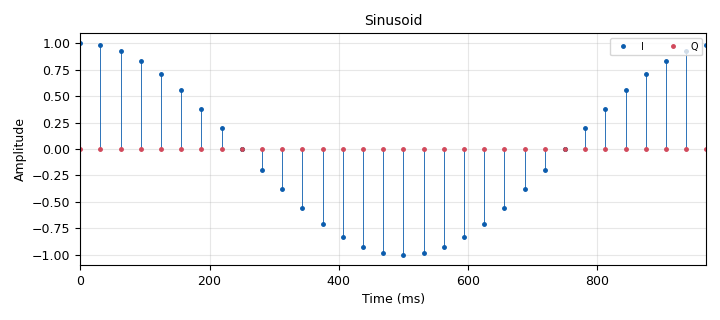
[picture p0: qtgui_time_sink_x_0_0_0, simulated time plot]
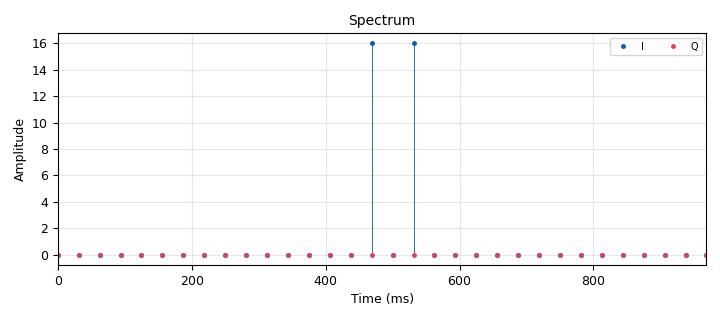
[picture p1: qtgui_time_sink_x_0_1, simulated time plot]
options:
  parameters:
    author: Ranim Tom
    generate_options: qt_gui
    id: Fourier_Analysis
    output_language: python
    title: Fourier Analysis
  states: {}

blocks:
- name: nfft
  id: variable
  parameters:
    value: '32'
  states: {}
- name: samp_rate
  id: variable
  parameters:
    value: '32'
  states: {}
- name: analog_sig_source_x_0
  id: analog_sig_source_x
  parameters:
    amp: '1'
    freq: '-1'
    offset: '0'
    phase: 0*pi/2
    samp_rate: samp_rate
    type: complex
    waveform: analog.GR_COS_WAVE
  states: {state: disabled}
- name: analog_sig_source_x_0_0
  id: analog_sig_source_x
  parameters:
    amp: '1'
    freq: '-1'
    offset: '0'
    phase: 0*pi/2
    samp_rate: samp_rate
    type: float
    waveform: analog.GR_COS_WAVE
  states: {}
- name: blocks_float_to_complex_0
  id: blocks_float_to_complex
  parameters: {}
  states: {}
- name: blocks_stream_to_vector_0
  id: blocks_stream_to_vector
  parameters:
    num_items: '32'
    type: complex
  states: {state: disabled}
- name: blocks_stream_to_vector_0_0
  id: blocks_stream_to_vector
  parameters:
    num_items: '32'
    type: complex
  states: {}
- name: blocks_throttle2_0
  id: blocks_throttle2
  parameters:
    samples_per_second: '8000'
    type: complex
  states: {state: disabled}
- name: blocks_throttle2_0_0
  id: blocks_throttle2
  parameters:
    samples_per_second: '8000'
    type: complex
  states: {}
- name: blocks_vector_to_stream_0
  id: blocks_vector_to_stream
  parameters:
    num_items: '32'
    type: complex
  states: {state: disabled}
- name: blocks_vector_to_stream_0_0
  id: blocks_vector_to_stream
  parameters:
    num_items: '32'
    type: complex
  states: {}
- name: fft_vxx_0
  id: fft_vxx
  parameters:
    fft_size: nfft
    forward: 'True'
    shift: 'True'
    type: complex
    window: window.rectangular(nfft)
  states: {state: disabled}
- name: fft_vxx_0_0
  id: fft_vxx
  parameters:
    fft_size: nfft
    forward: 'True'
    shift: 'True'
    type: complex
    window: window.rectangular(nfft)
  states: {}
- name: import_0
  id: import
  parameters:
    imports: "\n\nfrom math import pi"
  states: {}
- name: qtgui_time_sink_x_0
  id: qtgui_time_sink_x
  parameters:
    autoscale: 'True'
    ctrlpanel: 'True'
    grid: 'True'
    gui_hint: 1,0,1,1
    label1: I
    label2: Q
    marker1: '0'
    marker2: '1'
    name: Spectrum
    size: '32'
    srate: samp_rate
    stemplot: 'True'
    type: complex
    update_time: '0.01'
  states: {state: disabled}
- name: qtgui_time_sink_x_0_0
  id: qtgui_time_sink_x
  parameters:
    autoscale: 'True'
    grid: 'True'
    gui_hint: 0,0,1,1
    label1: I
    label2: Q
    marker1: '0'
    marker2: '0'
    name: Sinusoid
    size: nfft
    srate: samp_rate
    stemplot: 'True'
    type: complex
    update_time: '0.01'
  states: {state: disabled}
- name: qtgui_time_sink_x_0_0_0
  id: qtgui_time_sink_x
  parameters:
    autoscale: 'True'
    grid: 'True'
    gui_hint: 0,0,1,1
    label1: I
    label2: Q
    marker1: '0'
    marker2: '0'
    name: Sinusoid
    size: nfft
    srate: samp_rate
    stemplot: 'True'
    type: complex
    update_time: '0.01'
  states: {}
- name: qtgui_time_sink_x_0_1
  id: qtgui_time_sink_x
  parameters:
    autoscale: 'True'
    ctrlpanel: 'True'
    grid: 'True'
    gui_hint: 1,0,1,1
    label1: I
    label2: Q
    marker1: '0'
    marker2: '1'
    name: Spectrum
    size: '32'
    srate: samp_rate
    stemplot: 'True'
    type: complex
    update_time: '0.01'
  states: {}

connections:
- [analog_sig_source_x_0, '0', blocks_throttle2_0, '0']
- [analog_sig_source_x_0_0, '0', blocks_float_to_complex_0, '0']
- [blocks_float_to_complex_0, '0', blocks_throttle2_0_0, '0']
- [blocks_stream_to_vector_0, '0', fft_vxx_0, '0']
- [blocks_stream_to_vector_0_0, '0', fft_vxx_0_0, '0']
- [blocks_throttle2_0, '0', blocks_stream_to_vector_0, '0']
- [blocks_throttle2_0, '0', qtgui_time_sink_x_0_0, '0']
- [blocks_throttle2_0_0, '0', blocks_stream_to_vector_0_0, '0']
- [blocks_throttle2_0_0, '0', qtgui_time_sink_x_0_0_0, '0']
- [blocks_vector_to_stream_0, '0', qtgui_time_sink_x_0, '0']
- [blocks_vector_to_stream_0_0, '0', qtgui_time_sink_x_0_1, '0']
- [fft_vxx_0, '0', blocks_vector_to_stream_0, '0']
- [fft_vxx_0_0, '0', blocks_vector_to_stream_0_0, '0']

metadata:
  file_format: 1
  grc_version: 3.10.12.0
